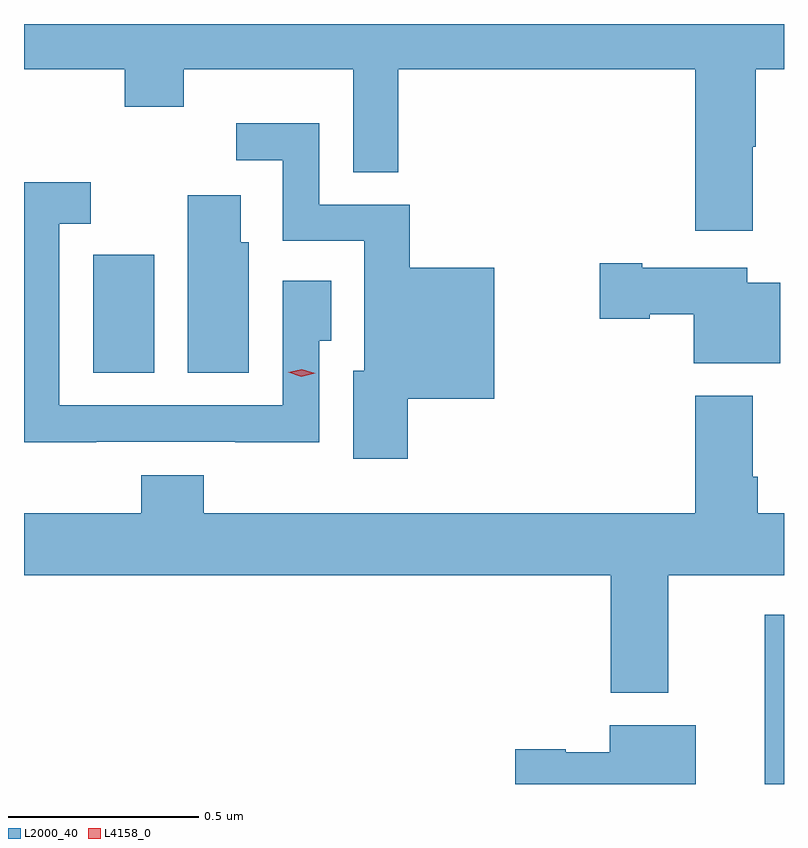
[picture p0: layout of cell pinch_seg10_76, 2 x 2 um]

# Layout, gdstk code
import gdstk
lib = gdstk.Library(unit=1e-6, precision=1e-09)
def R(c, l, rs):  # rectangles x0, y0, x1, y1
    for r in rs: c.add(gdstk.rectangle(r[:2], r[2:], *l))
def P(c, l, *ps):  # polygons
    for p in ps: c.add(gdstk.Polygon(p, *l))
L2000_40 = (2000, 40)
L4158_0 = (4158, 0)

pinch_seg10_76 = lib.new_cell('pinch_seg10_76')
R(pinch_seg10_76, L2000_40, [(819.56,1298.435,819.611,1298.881), (817.793,1299.517,817.954,1299.828)])
P(pinch_seg10_76, L2000_40, [(819.529,1300.112),(819.537,1300.112),(819.537,1300.316),(819.611,1300.316),(819.611,1300.435),(817.611,1300.435),(817.611,1300.316),(817.876,1300.316),(817.876,1300.217),(818.031,1300.217),(818.031,1300.316),(818.477,1300.316),(818.477,1300.045),(818.596,1300.045),(818.596,1300.316),(819.377,1300.316),(819.377,1299.891),(819.529,1299.891)],
  [(818.621,1299.449),(818.848,1299.449),(818.848,1299.793),(818.626,1299.793),(818.626,1299.96),(818.388,1299.96),(818.388,1300.174),(818.169,1300.174),(818.169,1300.077),(818.292,1300.077),(818.292,1299.864),(818.507,1299.864),(818.507,1299.523),(818.477,1299.523),(818.477,1299.291),(818.621,1299.291)],
  [(817.801,1299.336),(818.167,1299.336),(818.167,1299.335),(818.388,1299.335),(818.388,1299.601),(818.419,1299.601),(818.419,1299.76),(818.292,1299.76),(818.292,1299.432),(817.704,1299.432),(817.704,1299.909),(817.786,1299.909),(817.786,1300.018),(817.611,1300.018),(817.611,1299.335),(817.801,1299.335)],
  [(818.203,1299.861),(818.182,1299.861),(818.182,1299.985),(818.042,1299.985),(818.042,1299.517),(818.203,1299.517)],
  [(819.601,1299.754),(819.514,1299.754),(819.514,1299.793),(819.238,1299.793),(819.238,1299.806),(819.126,1299.806),(819.126,1299.659),(819.258,1299.659),(819.258,1299.671),(819.374,1299.671),(819.374,1299.542),(819.601,1299.542)],
  [(819.307,1298.984),(819.611,1298.984),(819.611,1299.148),(819.542,1299.148),(819.542,1299.244),(819.529,1299.244),(819.529,1299.457),(819.377,1299.457),(819.377,1299.148),(818.084,1299.148),(818.084,1299.247),(817.919,1299.247),(817.919,1299.148),(817.611,1299.148),(817.611,1298.984),(819.155,1298.984),(819.155,1298.675),(819.307,1298.675)],
  [(819.379,1298.59),(819.152,1298.59),(819.152,1298.518),(819.036,1298.518),(819.036,1298.526),(818.904,1298.526),(818.904,1298.435),(819.379,1298.435)])
P(pinch_seg10_76, L4158_0, [(818.341,1299.507),(818.306,1299.518),(818.306,1299.519),(818.306,1299.519),(818.342,1299.527),(818.378,1299.516),(818.378,1299.516),(818.378,1299.516)])

lib.write_gds('pinch_seg10_76.gds')
